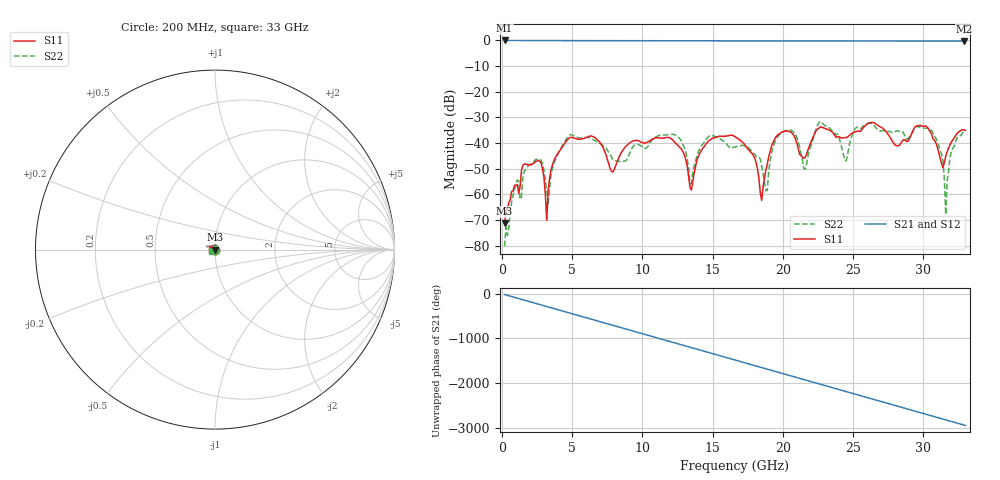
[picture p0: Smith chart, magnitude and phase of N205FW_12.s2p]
# GHZ S RI R 50
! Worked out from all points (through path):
!   329 points, 200 MHz to 33 GHz, reference 50 ohm
!   highest |S21| = -0.02 dB at 200 MHz (marker M1); lowest = -0.3 dB at 32.9 GHz (marker M2)
!   group delay of S21, straight-line fit = 248 ps
!   lowest |S11| = -71.3 dB at 200 MHz (marker M3), VSWR 1.00, Z = 50 - j0.00541 ohm
!   |S11| at or under -10 dB: start of sweep to end of sweep
!   |S22| runs from -80.2 to -31.6 dB; largest |S21 - S12| = 0.0022
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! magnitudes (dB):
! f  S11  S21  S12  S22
! 200 MHz  -71.3  0.0  0.0  -80.2
! 1.1 GHz  -56.3  0.0  0.0  -54.4
! 2.7 GHz  -47.1  -0.1  -0.1  -46.3
! 3.2 GHz  -70.2  -0.1  -0.1  -58.7
! 3.7 GHz  -47.0  -0.1  -0.1  -48.2
! 5.7 GHz  -38.4  -0.1  -0.1  -38.0
! 7.9 GHz  -51.4  -0.1  -0.1  -46.4
! 11.2 GHz  -38.0  -0.1  -0.1  -37.0
! 13.5 GHz  -58.4  -0.2  -0.2  -55.7
! 14.7 GHz  -39.4  -0.2  -0.2  -37.6
! 16.6 GHz  -37.5  -0.2  -0.2  -41.6
! 18.5 GHz  -62.4  -0.2  -0.2  -48.7
! 18.9 GHz  -48.2  -0.2  -0.2  -58.5
! 19.6 GHz  -37.1  -0.2  -0.2  -37.9
! 22.1 GHz  -38.5  -0.2  -0.2  -39.4
! 27.6 GHz  -37.5  -0.2  -0.2  -35.5
! 30.6 GHz  -36.6  -0.3  -0.3  -35.1
! 31.4 GHz  -49.6  -0.3  -0.3  -46.7
! 31.6 GHz  -45.2  -0.3  -0.3  -67.9
! 32 GHz  -39.7  -0.3  -0.3  -43.2
! 32.9 GHz  -34.8  -0.3  -0.3  -35.5
! 33 GHz  -35.1  -0.3  -0.3  -35.6
